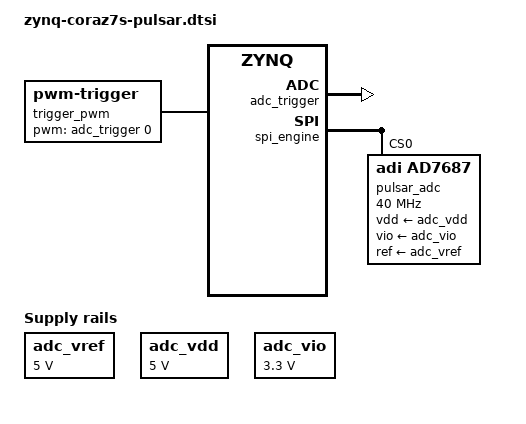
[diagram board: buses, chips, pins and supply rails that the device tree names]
// SPDX-License-Identifier: GPL-2.0
/*
 * Analog Devices Single-channel PulSAR devices
 *
 * hdl_project: <pulsar_adc/coraz7s>
 * Link: https://github.com/analogdevicesinc/hdl/tree/main/projects/pulsar_adc
 * board_revision: <A>
 *
 * Copyright (C) 2025 Analog Devices Inc.
 */
#include "zynq-coraz7s.dtsi"
#include "zynq-coraz7s-axi-sysid.dtsi"
#include <dt-bindings/interrupt-controller/irq.h>
#include <dt-bindings/gpio/gpio.h>

/ {
	adc_vref: regulator-vref {
		compatible = "regulator-fixed";
		regulator-name = "EVAL 5V Vref";
		regulator-min-microvolt = <5000000>;
		regulator-max-microvolt = <5000000>;
		regulator-always-on;
	};

	adc_vdd: regulator-vdd {
		compatible = "regulator-fixed";
		regulator-name = "Eval VDD supply";
		regulator-min-microvolt = <5000000>;
		regulator-max-microvolt = <5000000>;
		regulator-always-on;
	};

	adc_vio: regulator-vio {
		compatible = "regulator-fixed";
		regulator-name = "Eval VIO supply";
		regulator-min-microvolt = <3300000>;
		regulator-max-microvolt = <3300000>;
		regulator-always-on;
	};

	trigger_pwm: adc-pwm-trigger {
		compatible = "pwm-trigger";
		#trigger-source-cells = <0>;
		pwms = <&adc_trigger 0 1000000 0>;
	};
};

&fpga_axi {

	adc_trigger: pwm@0x44b00000 {
		compatible = "adi,axi-pwmgen-2.00.a";
		reg = <0x44b00000 0x1000>;
		label = "adc_conversion_trigger";
		#pwm-cells = <2>;
		clocks = <&clkc 15>, <&spi_clk>;
		clock-names = "axi", "ext";
	};

	spi_engine: spi@44a00000 {
		compatible = "adi,axi-spi-engine-1.00.a";
		reg = <0x44a00000 0x10000>;
		interrupt-parent = <&intc>;
		interrupts = <0 56 IRQ_TYPE_LEVEL_HIGH>;
		clocks = <&clkc 15 &spi_clk>;
		clock-names = "s_axi_aclk", "spi_clk";

		dmas = <&rx_dma 0>;
		dma-names = "offload0-rx";
		trigger-sources = <&trigger_pwm>;

		#address-cells = <0x1>;
		#size-cells = <0x0>;

		pulsar_adc: adc@0 {
			compatible = "adi,ad7687";
			reg = <0>;
			spi-max-frequency = <40000000>;
			vdd-supply = <&adc_vdd>;
			vio-supply = <&adc_vio>;
			ref-supply = <&adc_vref>;
			adi,sdi-pin = "high";
		};
	};

	rx_dma: dma-controller@44a30000 {
		compatible = "adi,axi-dmac-1.00.a";
		reg = <0x44a30000 0x1000>;
		#dma-cells = <1>;
		interrupt-parent = <&intc>;
		interrupts = <0 57 IRQ_TYPE_LEVEL_HIGH>;
		clocks = <&clkc 16>;

		adi,channels {
			#size-cells = <0>;
			#address-cells = <1>;

			dma-channel@0 {
				reg = <0>;
				adi,source-bus-width = <32>;
				adi,source-bus-type = <1>;
				adi,destination-bus-width = <64>;
				adi,destination-bus-type = <0>;
			};
		};
	};

	spi_clk: clock-controller@44a70000 {
		compatible = "adi,axi-clkgen-2.00.a";
		reg = <0x44a70000 0x10000>;
		#clock-cells = <0>;
		clocks = <&clkc 15>, <&clkc 15>;
		clock-names = "s_axi_aclk", "clkin1";
		clock-output-names = "spi_clk";

		assigned-clocks = <&spi_clk>;
		assigned-clock-rates = <200000000>;
	};
};
